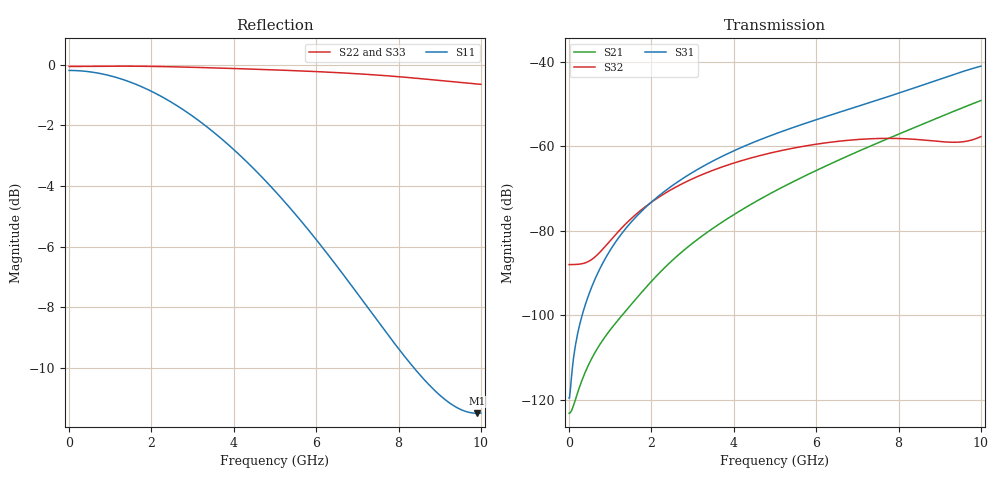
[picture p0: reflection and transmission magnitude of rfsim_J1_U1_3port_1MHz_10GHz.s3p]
! rfsim result results.s3p: P1 = J1 pad, P2 = U1:1 (INHI), P3 = U1:8 (INLO)
! points below the first rfsim frequency are copies of it (flat extension)
# HZ S RI R 50
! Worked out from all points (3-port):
!   402 points, 1 MHz to 10 GHz, reference 50 ohm
!   strongest paths, dB at 1 MHz, 2.483 GHz, 5.005 GHz, 7.503 GHz, 10 GHz:
!     S31: -119.6, -69.5, -57.1, -49.0, -41.0
!     S32: -88.0, -70.2, -61.3, -58.1, -57.7
!     S21: -123.2, -87.2, -70.6, -59.2, -49.2
!   lowest |S11| = -11.5 dB at 9.9 GHz (marker M1), VSWR 1.72, Z = 68 - j26.7 ohm
!   |S11| at or under -10 dB: 8.373 GHz to end of sweep
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1000000  0.9784 -0.00216  -2.8e-05 3.41e-07  -9.29e-07 -1.46e-07
         6.88e-07 -5.98e-08  0.9932 -0.000592  9.22e-07 -2.76e-07
         1.01e-06 -2.88e-07  -3.98e-05 -3.19e-07  -0.9932 0.00343
1.15885e9  0.9218 -0.2386  -7.97e-07 1.2e-05  -7.29e-05 1.34e-05
           -8.08e-06 -2.31e-06  0.9918 -0.0703  -5.02e-05 6.7e-06
           -7.67e-05 -8.54e-06  -6.47e-05 -6.76e-05  -0.9155 0.3976
1.333675e9  0.9044 -0.2704  1.55e-06 7.99e-06  -9.53e-05 2.31e-05
            -1.04e-05 -2.26e-06  0.991 -0.0813  -6.49e-05 1.06e-05
            -0.0001 -6.2e-07  -8.17e-05 -8.12e-05  -0.8891 0.4524
1.633375e9  0.8702 -0.3211  1.24e-06 -3.31e-07  -0.000141 5.03e-05
            -1.56e-05 -2.26e-06  0.9891 -0.1001  -9.66e-05 2.36e-05
            -0.000146 2.21e-05  -0.000122 -0.0001  -0.8376 0.541
2.232775e9  0.7886 -0.4059  -1.63e-05 -1.56e-05  -0.000238 0.000156
            -3.31e-05 -1.25e-07  0.9833 -0.1377  -0.000163 7.35e-05
            -0.000249 0.000109  -0.000235 -0.00011  -0.7127 0.6991
3.381625e9  0.6068 -0.5002  -9.82e-05 -5.46e-06  -0.000353 0.000535
            -9.2e-05 3.39e-05  0.9662 -0.2085  -0.000317 0.00023
            -0.000414 0.000471  -0.000495 1.47e-05  -0.4123 0.9082
5.005e9  0.3692 -0.496  -0.000244 0.000185  -0.000113 0.00139
         -0.000189 0.000228  0.9311 -0.3064  -0.000411 0.000632
         -0.000233 0.00138  -0.000734 0.000444  0.0464 0.9981
7.75225e9  0.1745 -0.3124  0.000147 0.00132  0.0025 0.00297
           0.00031 0.0012  0.835 -0.4703  -0.000104 0.0012
           0.00243 0.00303  -0.000543 0.00112  0.6662 0.7337
9.9001e9  0.1938 -0.1822  0.00319 0.00212  0.0088 8.55e-06
          0.00291 0.00164  0.7213 -0.5859  -0.000468 0.000745
          0.00862 0.000196  -0.000948 0.000804  0.8929 0.3347
1e10  0.1975 -0.1785  0.00344 0.00207  0.00905 -0.000467
      0.0031 0.00159  0.7155 -0.5912  -0.000561 0.000749
      0.00888 -0.000278  -0.00104 0.000788  0.8985 0.3156
